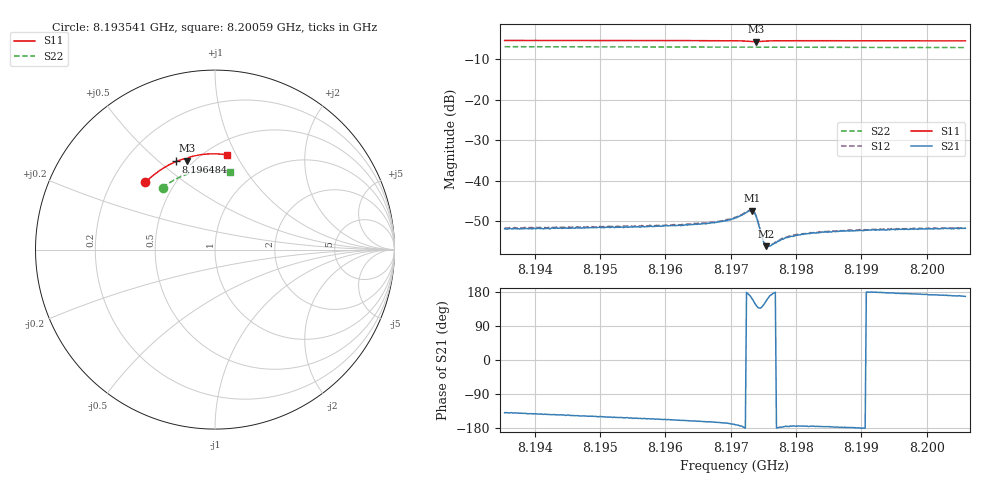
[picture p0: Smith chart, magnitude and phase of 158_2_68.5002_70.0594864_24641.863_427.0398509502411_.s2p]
#  HZ  S  RI  R  50.00
! Rohde & Schwarz Vector Network Analyzer
! Rohde-Schwarz,ZNB20-2Port,1311601062101988,3.16
! Created: UTC 3/20/2024, 5:10:49 PM
! freq[Hz]  re:S11  im:S11  re:S21  im:S21  re:S12  im:S12  re:S22  im:S22
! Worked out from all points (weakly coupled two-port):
!   401 points, 8.193541 GHz to 8.20059 GHz, reference 50 ohm
!   highest |S21| = -47.46 dB at 8.197329 GHz (marker M1); lowest = -56.2 dB at 8.197541 GHz (marker M2)
!   lowest |S11| = -5.7 dB at 8.197382 GHz (marker M3), VSWR 3.16, Z = 23.1 + j31.4 ohm
!   |S11| at or under -10 dB: nowhere
!   |S22| runs from -7.1 to -6.9 dB; largest |S21 - S12| = 0.00025
!   S11 on the Smith chart (normalised r, x): 8.193541 GHz: 0.34, +0.36; 8.196484 GHz: 0.41, +0.57; 8.20059 GHz: 0.62, +0.92
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8.1935406e9  -0.3873 0.3746  -0.00192 -0.00166  -0.00203 -0.00167  -0.2916 0.345
8.1947213e9  -0.3245 0.4291  -0.00218 -0.00139  -0.00229 -0.00136  -0.2373 0.3826
8.195902e9  -0.2536 0.4734  -0.00252 -0.0011  -0.00262 -0.000995  -0.1778 0.4116
8.1964835e9  -0.2159 0.4909  -0.00273 -0.000899  -0.00284 -0.000839  -0.147 0.4227
8.1968536e9  -0.1901 0.5006  -0.00302 -0.000768  -0.00311 -0.000662  -0.127 0.4283
8.1970651e9  -0.1739 0.5049  -0.0034 -0.000561  -0.00349 -0.000458  -0.1154 0.4314
8.1972766e9  -0.155 0.5032  -0.00417 0.000534  -0.0042 0.000701  -0.1037 0.4338
8.1973294e9  -0.1522 0.4991  -0.004 0.00139  -0.004 0.00158  -0.1008 0.4341
8.1973647e9  -0.1531 0.4965  -0.00348 0.00197  -0.00344 0.00216  -0.0988 0.4345
8.1973823e9  -0.1543 0.4959  -0.00308 0.0021  -0.00301 0.00224  -0.098 0.4345
8.1974175e9  -0.1568 0.4968  -0.00227 0.00203  -0.00225 0.00214  -0.0961 0.435
8.197488e9  -0.157 0.5034  -0.00149 0.00116  -0.00146 0.00124  -0.0923 0.4357
8.1975056e9  -0.1562 0.5049  -0.00144 0.000955  -0.00144 0.00104  -0.0913 0.4361
8.1975409e9  -0.1538 0.5075  -0.00141 0.000637  -0.00145 0.000741  -0.0895 0.4365
8.1975761e9  -0.1513 0.5099  -0.00149 0.000408  -0.00151 0.000485  -0.0874 0.4367
8.1976114e9  -0.1485 0.5116  -0.00155 0.000236  -0.0016 0.000311  -0.0855 0.4372
8.19777e9  -0.1361 0.5167  -0.00185 -8.13e-05  -0.0019 -3.43e-05  -0.0765 0.4385
8.1978757e9  -0.1281 0.5191  -0.00198 -0.000165  -0.00204 -8.33e-05  -0.0706 0.4395
8.1982458e9  -0.1012 0.5251  -0.00226 -0.000208  -0.00225 -0.000118  -0.0497 0.4416
8.1985277e9  -0.0811 0.5286  -0.00231 -0.000161  -0.00238 -5.95e-05  -0.0338 0.4426
8.1994265e9  -0.0173 0.5335  -0.00247 0.000144  -0.00247 0.000267  0.0173 0.4419
8.2005896e9  0.0648 0.5283  -0.00251 0.000539  -0.00251 0.000615  0.0828 0.4322
